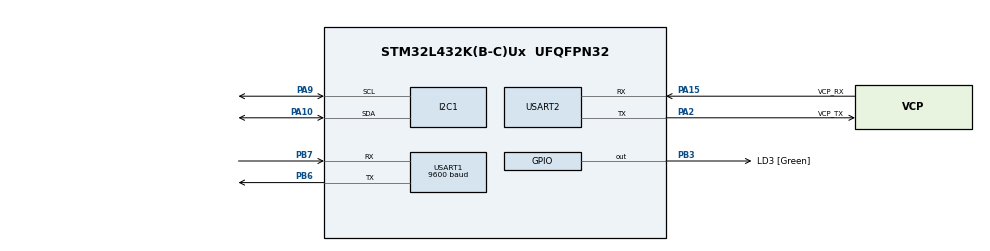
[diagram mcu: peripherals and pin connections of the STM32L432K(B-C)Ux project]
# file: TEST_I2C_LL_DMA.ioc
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Dma.I2C1_RX.1.Direction=DMA_PERIPH_TO_MEMORY
Dma.I2C1_RX.1.Instance=DMA1_Channel7
Dma.I2C1_RX.1.MemDataAlignment=DMA_MDATAALIGN_BYTE
Dma.I2C1_RX.1.MemInc=DMA_MINC_ENABLE
Dma.I2C1_RX.1.Mode=DMA_NORMAL
Dma.I2C1_RX.1.PeriphDataAlignment=DMA_PDATAALIGN_BYTE
Dma.I2C1_RX.1.PeriphInc=DMA_PINC_DISABLE
Dma.I2C1_RX.1.Priority=DMA_PRIORITY_HIGH
Dma.I2C1_TX.0.Direction=DMA_MEMORY_TO_PERIPH
Dma.I2C1_TX.0.Instance=DMA1_Channel6
Dma.I2C1_TX.0.MemDataAlignment=DMA_MDATAALIGN_BYTE
Dma.I2C1_TX.0.MemInc=DMA_MINC_ENABLE
Dma.I2C1_TX.0.Mode=DMA_NORMAL
Dma.I2C1_TX.0.PeriphDataAlignment=DMA_PDATAALIGN_BYTE
Dma.I2C1_TX.0.PeriphInc=DMA_PINC_DISABLE
Dma.I2C1_TX.0.Priority=DMA_PRIORITY_HIGH
Dma.Request0=I2C1_TX
Dma.Request1=I2C1_RX
FREERTOS.Tasks01=defaultTask,0,128,StartDefaultTask,Default,NULL,Dynamic,NULL,NULL
I2C1.CustomTiming=Enabled
I2C1.GeneralCallMode=I2C_GENERALCALL_ENABLE
I2C1.Timing=0x00707CBB
Mcu.Family=STM32L4
Mcu.Name=STM32L432K(B-C)Ux
Mcu.Package=UFQFPN32
NVIC.DMA1_Channel6_IRQn=true\:5\:0\:false\:false\:true\:true\:false\:true\:true
NVIC.DMA1_Channel7_IRQn=true\:5\:0\:false\:false\:true\:true\:false\:true\:true
NVIC.I2C1_ER_IRQn=true\:5\:0\:false\:false\:true\:true\:true\:true\:true
NVIC.I2C1_EV_IRQn=true\:5\:0\:false\:false\:true\:true\:true\:true\:true
NVIC.PriorityGroup=NVIC_PRIORITYGROUP_4
NVIC.TIM1_UP_TIM16_IRQn=true\:15\:0\:false\:false\:true\:false\:false\:true\:true
NVIC.TimeBase=TIM1_UP_TIM16_IRQn
NVIC.TimeBaseIP=TIM1
PA0.GPIO_Label=MCO [High speed clock in]
PA0.Mode=HSE-External-Clock-Source-for-LittleOrca
PA0.Signal=RCC_CK_IN
PA10.Mode=I2C
PA10.Signal=I2C1_SDA
PA13\ (JTMS-SWDIO).GPIO_Label=SWDIO
PA13\ (JTMS-SWDIO).Mode=Serial_Wire
PA13\ (JTMS-SWDIO).Signal=SYS_JTMS-SWDIO
PA14\ (JTCK-SWCLK).GPIO_Label=SWCLK
PA14\ (JTCK-SWCLK).Mode=Serial_Wire
PA14\ (JTCK-SWCLK).Signal=SYS_JTCK-SWCLK
PA15\ (JTDI).GPIO_Label=VCP_RX
PA15\ (JTDI).Mode=Asynchronous
PA15\ (JTDI).Signal=USART2_RX
PA2.GPIO_Label=VCP_TX
PA2.Mode=Asynchronous
PA2.Signal=USART2_TX
PA9.Mode=I2C
PA9.Signal=I2C1_SCL
PB3\ (JTDO-TRACESWO).GPIO_Label=LD3 [Green]
PB3\ (JTDO-TRACESWO).Signal=GPIO_Output
PB6.Mode=Asynchronous
PB6.Signal=USART1_TX
PB7.Mode=Asynchronous
PB7.Signal=USART1_RX
PC14-OSC32_IN\ (PC14).Mode=LSE-External-Oscillator
PC14-OSC32_IN\ (PC14).Signal=RCC_OSC32_IN
PC15-OSC32_OUT\ (PC15).Mode=LSE-External-Oscillator
PC15-OSC32_OUT\ (PC15).Signal=RCC_OSC32_OUT
ProjectManager.HeapSize=0x200
ProjectManager.StackSize=0x400
ProjectManager.TargetToolchain=STM32CubeIDE
RCC.AHBFreq_Value=80000000
RCC.APB1Freq_Value=80000000
RCC.APB1TimFreq_Value=80000000
RCC.APB2Freq_Value=80000000
RCC.APB2TimFreq_Value=80000000
RCC.CortexFreq_Value=80000000
RCC.HCLKFreq_Value=80000000
RCC.HSE_VALUE=8000000
RCC.HSI16_VALUE=16000000
RCC.HSI48_VALUE=48000000
RCC.HSI_VALUE=16000000
RCC.MSI_VALUE=4000000
RCC.PLLMUL=RCC_PLLMUL_4
RCC.PLLN=40
RCC.SYSCLKFreq_VALUE=80000000
RCC.SYSCLKSource=RCC_SYSCLKSOURCE_PLLCLK
RCC.VCOOutputFreq_Value=160000000
USART1.BaudRate=9600
USART1.VirtualMode-Asynchronous=VM_ASYNC
USART2.VirtualMode-Asynchronous=VM_ASYNC
VP_FREERTOS_VS_CMSIS_V1.Mode=CMSIS_V1
VP_SYS_VS_tim1.Mode=TIM1
board=NUCLEO-L432KC

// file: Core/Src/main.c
/* USER CODE BEGIN Header */
/**
  ******************************************************************************
  * @file           : main.c
  * @brief          : Main program body
  ******************************************************************************
  * @attention
  *
  * Copyright (c) 2024 STMicroelectronics.
  * All rights reserved.
  *
  * This software is licensed under terms that can be found in the LICENSE file
  * in the root directory of this software component.
  * If no LICENSE file comes with this software, it is provided AS-IS.
  *
  ******************************************************************************
  */
/* USER CODE END Header */
#include "main.h"
#include "cmsis_os.h"
#include "dma.h"
#include "i2c.h"
#include "usart.h"
#include "gpio.h"

/* USER CODE BEGIN Includes */
#include <stdio.h>
#include "retarget.h"
#include "i2c_drv.h"
/* USER CODE END Includes */

void SystemClock_Config(void);
void MX_FREERTOS_Init(void);

int main(void)
{
  /* USER CODE BEGIN 1 */
	char buf[100];
  /* USER CODE END 1 */

  /* MCU Configuration--------------------------------------------------------*/

  /* Reset of all peripherals, Initializes the Flash interface and the Systick. */
  HAL_Init();

  /* Configure the system clock */
  SystemClock_Config();

  /* Initialize all configured peripherals */
  MX_GPIO_Init();
  MX_DMA_Init();
  MX_USART2_UART_Init();
  MX_I2C1_Init();
  MX_USART1_UART_Init();
  /* USER CODE BEGIN 2 */
  RetargetInit(&huart2);
  /* USER CODE END 2 */

  /* Call init function for freertos objects (in freertos.c) */
  MX_FREERTOS_Init();

  /* Start scheduler */
  osKernelStart();

  /* We should never get here as control is now taken by the scheduler */
  /* Infinite loop */
  while (1)
{

	 }
}

void SystemClock_Config(void)
{
  LL_FLASH_SetLatency(LL_FLASH_LATENCY_4);
  while(LL_FLASH_GetLatency()!= LL_FLASH_LATENCY_4)
  {
  }
  LL_PWR_SetRegulVoltageScaling(LL_PWR_REGU_VOLTAGE_SCALE1);
  while (LL_PWR_IsActiveFlag_VOS() != 0)
  {
  }
  LL_RCC_MSI_Enable();

   /* Wait till MSI is ready */
  while(LL_RCC_MSI_IsReady() != 1)
  {

  }
  LL_RCC_MSI_EnableRangeSelection();
  LL_RCC_MSI_SetRange(LL_RCC_MSIRANGE_6);
  LL_RCC_MSI_SetCalibTrimming(0);
  LL_PWR_EnableBkUpAccess();
  LL_RCC_LSE_SetDriveCapability(LL_RCC_LSEDRIVE_LOW);
  LL_RCC_LSE_Enable();

   /* Wait till LSE is ready */
  while(LL_RCC_LSE_IsReady() != 1)
  {

  }
  LL_RCC_MSI_EnablePLLMode();
  LL_RCC_PLL_ConfigDomain_SYS(LL_RCC_PLLSOURCE_MSI, LL_RCC_PLLM_DIV_1, 40, LL_RCC_PLLR_DIV_2);
  LL_RCC_PLL_EnableDomain_SYS();
  LL_RCC_PLL_Enable();

   /* Wait till PLL is ready */
  while(LL_RCC_PLL_IsReady() != 1)
  {

  }
  LL_RCC_SetSysClkSource(LL_RCC_SYS_CLKSOURCE_PLL);

   /* Wait till System clock is ready */
  while(LL_RCC_GetSysClkSource() != LL_RCC_SYS_CLKSOURCE_STATUS_PLL)
  {

  }
  LL_RCC_SetAHBPrescaler(LL_RCC_SYSCLK_DIV_1);
  LL_RCC_SetAPB1Prescaler(LL_RCC_APB1_DIV_1);
  LL_RCC_SetAPB2Prescaler(LL_RCC_APB2_DIV_1);
  LL_SetSystemCoreClock(80000000);

   /* Update the time base */
  if (HAL_InitTick (TICK_INT_PRIORITY) != HAL_OK)
  {
    Error_Handler();
  }
}

void HAL_TIM_PeriodElapsedCallback(TIM_HandleTypeDef *htim)
{
  if (htim->Instance == TIM1) {
    HAL_IncTick();
  }
}

void Error_Handler(void)
{
  __disable_irq();
  while (1)
  {
  }
}

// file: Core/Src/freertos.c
/* USER CODE BEGIN Header */
/**
  ******************************************************************************
  * File Name          : freertos.c
  * Description        : Code for freertos applications
  ******************************************************************************
  * @attention
  *
  * Copyright (c) 2024 STMicroelectronics.
  * All rights reserved.
  *
  * This software is licensed under terms that can be found in the LICENSE file
  * in the root directory of this software component.
  * If no LICENSE file comes with this software, it is provided AS-IS.
  *
  ******************************************************************************
  */
/* USER CODE END Header */

#include "FreeRTOS.h"
#include "task.h"
#include "main.h"
#include "cmsis_os.h"

/* USER CODE BEGIN Includes */
#include "i2c_drv.h"
#define RX_BUFFER_SIZE 1

/* USER CODE END Includes */

osThreadId defaultTaskHandle;

void StartDefaultTask(void const * argument);

void MX_FREERTOS_Init(void); /* (MISRA C 2004 rule 8.1) */

/* GetIdleTaskMemory prototype (linked to static allocation support) */
void vApplicationGetIdleTaskMemory( StaticTask_t **ppxIdleTaskTCBBuffer, StackType_t **ppxIdleTaskStackBuffer, uint32_t *pulIdleTaskStackSize );

/* USER CODE BEGIN GET_IDLE_TASK_MEMORY */
static StaticTask_t xIdleTaskTCBBuffer;
static StackType_t xIdleStack[configMINIMAL_STACK_SIZE];

void vApplicationGetIdleTaskMemory( StaticTask_t **ppxIdleTaskTCBBuffer, StackType_t **ppxIdleTaskStackBuffer, uint32_t *pulIdleTaskStackSize )
{
  *ppxIdleTaskTCBBuffer = &xIdleTaskTCBBuffer;
  *ppxIdleTaskStackBuffer = &xIdleStack[0];
  *pulIdleTaskStackSize = configMINIMAL_STACK_SIZE;
  /* place for user code */
}
/* USER CODE END GET_IDLE_TASK_MEMORY */

void MX_FREERTOS_Init(void) {

  /* Create the thread(s) */
  /* definition and creation of defaultTask */
  osThreadDef(defaultTask, StartDefaultTask, osPriorityNormal, 0, 128);
  defaultTaskHandle = osThreadCreate(osThread(defaultTask), NULL);

}

void I2C_DMA_TransferComplete_Callback(void)
{
    printf("DMA_Cb\r\n");
}
void StartDefaultTask(void const * argument)
{
  /* USER CODE BEGIN StartDefaultTask */
  /* Infinite loop */
	//char buf[100];
	uint8_t rx_buffer[RX_BUFFER_SIZE];
    uint8_t addr= 0;
    for(uint8_t i=5; i>0; i--)
    {
      LL_GPIO_TogglePin(GPIOB, GPIO_PIN_3);
	  osDelay(1000);
    }
    //printf("\r\nHello");
    uint8_t *result = i2cdevReadRegSeq_DMA(I2C1, 0x76, 0xD0, rx_buffer, RX_BUFFER_SIZE, I2C_DMA_TransferComplete_Callback);
    //addr=i2cdevReadReg8(I2C1, 0x76, 0xD0);
    //printf("\r\n BMP280 ADDR=%d",addr);
    //i2cdevReadReg_Mul(I2C1, 0x76, 0xD0, 1, rx_buffer);
    //printf("\r\n %d%d%d%d%d",rx_buffer[0],rx_buffer[1],rx_buffer[2],rx_buffer[3],rx_buffer[4]);
    if(*result == 0x58){
    	while(1){

    		LL_GPIO_TogglePin(GPIOB, GPIO_PIN_3);
    		osDelay(80);
    	}
    }
    else if (addr ==0x00){
    	while(1){

    		LL_GPIO_TogglePin(GPIOB, GPIO_PIN_3);
    		osDelay(1000);
    	}
    }
    else{
    	while(1){

    		LL_GPIO_TogglePin(GPIOB, GPIO_PIN_3);
    	    osDelay(2);
    	    }
    }
  /* USER CODE END StartDefaultTask */
}
